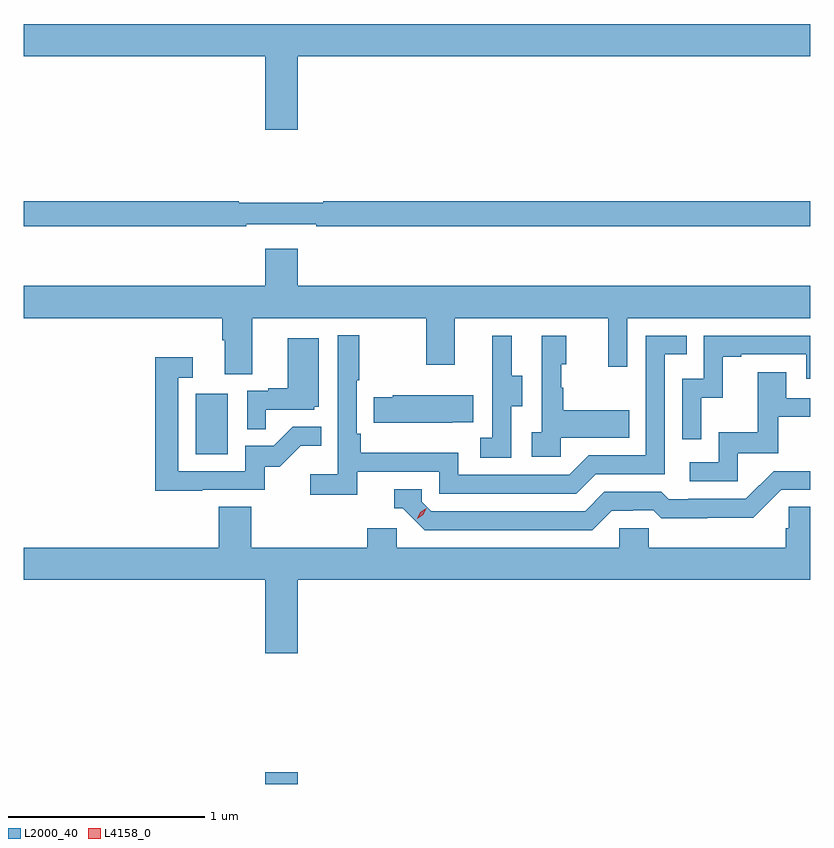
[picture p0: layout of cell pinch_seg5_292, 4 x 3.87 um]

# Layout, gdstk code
import gdstk
lib = gdstk.Library(unit=1e-6, precision=1e-09)
def R(c, l, rs):  # rectangles x0, y0, x1, y1
    for r in rs: c.add(gdstk.rectangle(r[:2], r[2:], *l))
def P(c, l, *ps):  # polygons
    for p in ps: c.add(gdstk.Polygon(p, *l))
L2000_40 = (2000, 40)
L4158_0 = (4158, 0)

pinch_seg5_292 = lib.new_cell('pinch_seg5_292')
R(pinch_seg5_292, L2000_40, [(920.252,891.685,920.416,891.745), (919.898,893.364,920.062,893.671)])
P(pinch_seg5_292, L2000_40, [(920.416,895.388),(923.024,895.388),(923.024,895.552),(919.024,895.552),(919.024,895.388),(920.252,895.388),(920.252,895.014),(920.416,895.014)],
  [(920.156,894.534),(920.512,894.534),(920.512,894.522),(923.024,894.522),(923.024,894.65),(920.548,894.65),(920.548,894.643),(920.117,894.643),(920.117,894.65),(919.024,894.65),(919.024,894.522),(920.156,894.522)],
  [(920.185,894.056),(921.07,894.056),(921.07,893.817),(921.217,893.817),(921.217,894.056),(921.998,894.056),(921.998,893.808),(922.095,893.808),(922.095,894.056),(923.024,894.056),(923.024,894.22),(920.416,894.22),(920.416,894.409),(920.252,894.409),(920.252,894.22),(919.024,894.22),(919.024,894.056),(920.033,894.056),(920.033,893.944),(920.045,893.944),(920.045,893.77),(920.185,893.77)],
  [(920.72,893.274),(921.138,893.274),(921.138,893.163),(921.835,893.163),(921.934,893.262),(922.284,893.262),(922.284,893.871),(922.397,893.871),(922.397,893.967),(922.188,893.967),(922.188,893.358),(921.897,893.358),(921.798,893.259),(921.234,893.259),(921.234,893.371),(920.738,893.371),(920.738,893.467),(920.718,893.467),(920.718,893.74),(920.731,893.74),(920.731,893.968),(920.622,893.968),(920.622,893.26),(920.481,893.26),(920.481,893.158),(920.72,893.158)],
  [(922.47,893.651),(922.58,893.651),(922.58,893.859),(922.675,893.859),(922.675,893.871),(923.004,893.871),(923.004,893.748),(923.024,893.748),(923.024,893.967),(922.482,893.967),(922.482,893.748),(922.374,893.748),(922.374,893.439),(922.47,893.439)],
  [(921.504,893.608),(921.559,893.608),(921.559,893.763),(921.505,893.763),(921.505,893.965),(921.407,893.965),(921.407,893.751),(921.408,893.751),(921.408,893.447),(921.345,893.447),(921.345,893.344),(921.504,893.344)],
  [(921.756,893.447),(922.103,893.447),(922.103,893.587),(921.769,893.587),(921.769,893.702),(921.759,893.702),(921.759,893.82),(921.784,893.82),(921.784,893.965),(921.66,893.965),(921.66,893.474),(921.609,893.474),(921.609,893.349),(921.756,893.349)],
  [(920.255,893.589),(920.502,893.589),(920.502,893.604),(920.524,893.604),(920.524,893.953),(920.366,893.953),(920.366,893.698),(920.267,893.698),(920.267,893.685),(920.16,893.685),(920.16,893.491),(920.255,893.491)],
  [(919.931,893.181),(920.25,893.181),(920.25,893.298),(920.326,893.298),(920.433,893.405),(920.537,893.405),(920.537,893.504),(920.393,893.504),(920.295,893.406),(920.151,893.406),(920.151,893.277),(919.809,893.277),(919.809,893.751),(919.882,893.751),(919.882,893.857),(919.693,893.857),(919.693,893.176),(919.931,893.176)],
  [(922.656,893.367),(922.861,893.367),(922.861,893.553),(923.024,893.553),(923.024,893.649),(922.903,893.649),(922.903,893.779),(922.759,893.779),(922.759,893.476),(922.56,893.476),(922.56,893.322),(922.413,893.322),(922.413,893.226),(922.656,893.226)],
  [(921.203,893.525),(921.311,893.525),(921.311,893.662),(920.901,893.662),(920.901,893.652),(920.803,893.652),(920.803,893.522),(921.203,893.522)],
  [(922.015,893.076),(922.122,893.076),(922.122,893.079),(922.225,893.079),(922.267,893.037),(922.5,893.037),(922.5,893.039),(922.736,893.039),(922.878,893.181),(923.024,893.181),(923.024,893.277),(922.839,893.277),(922.698,893.136),(922.405,893.136),(922.405,893.133),(922.306,893.133),(922.267,893.172),(921.978,893.172),(921.879,893.073),(921.096,893.073),(921.048,893.121),(921.048,893.184),(920.909,893.184),(920.909,893.088),(920.952,893.088),(921.063,892.977),(921.916,892.977)],
  [(923.024,893.096),(922.915,893.096),(922.915,892.986),(922.901,892.986),(922.901,892.888),(922.203,892.888),(922.203,892.986),(922.053,892.986),(922.053,892.888),(920.922,892.888),(920.922,892.986),(920.771,892.986),(920.771,892.888),(920.18,892.888),(920.18,893.096),(920.015,893.096),(920.015,892.888),(919.024,892.888),(919.024,892.724),(920.252,892.724),(920.252,892.35),(920.416,892.35),(920.416,892.724),(923.024,892.724)])
P(pinch_seg5_292, L4158_0, [(921.025,893.035),(921.025,893.035),(921.041,893.068),(921.072,893.087),(921.072,893.087),(921.072,893.087),(921.056,893.054),(921.025,893.035)])

lib.write_gds('pinch_seg5_292.gds')
